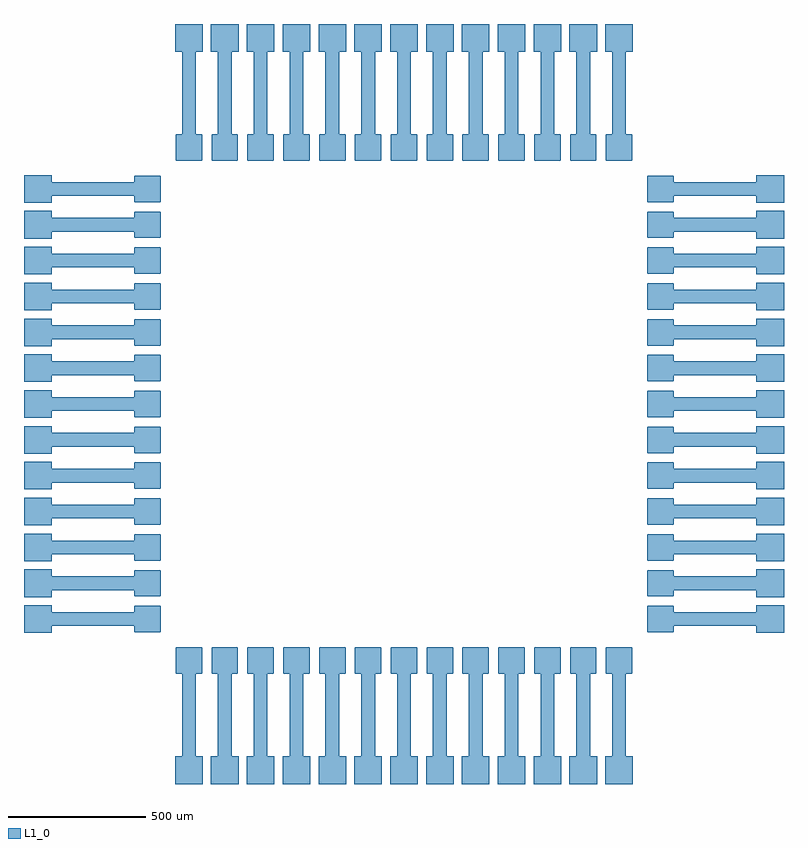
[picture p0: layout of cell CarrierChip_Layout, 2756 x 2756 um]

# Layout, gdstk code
import gdstk
lib = gdstk.Library(unit=1e-6, precision=1e-09)
def R(c, l, rs):  # rectangles x0, y0, x1, y1
    for r in rs: c.add(gdstk.rectangle(r[:2], r[2:], *l))
def A(c, l, x, y, w, h, nx, ny, dx, dy):  # array of equal rectangles
    R(c, l, [(x+i*dx, y+j*dy, x+i*dx+w, y+j*dy+h) for i in range(nx) for j in range(ny)])
def P(c, l, *ps):  # polygons
    for p in ps: c.add(gdstk.Polygon(p, *l))
L1_0 = (1, 0)

carrierchip_layout = lib.new_cell('CarrierChip_Layout')
A(carrierchip_layout, L1_0, 170, -378, 100, 100, 13, 2, 130, 2656)
A(carrierchip_layout, L1_0, 195, -328, 50, 398, 13, 2, 130, 2258)
A(carrierchip_layout, L1_0, -378, 170, 100, 100, 1, 13, 0, 130)
A(carrierchip_layout, L1_0, 2278, 170, 100, 100, 1, 13, 0, 130)
A(carrierchip_layout, L1_0, -328, 195, 398, 50, 1, 13, 0, 130)
A(carrierchip_layout, L1_0, 1930, 195, 398, 50, 1, 13, 0, 130)
P(carrierchip_layout, L1_0, [(118,173.9),(116.1,172),(23.9,172),(22,173.9),(22,266.1),(23.9,268),(116.1,268),(118,266.1)],
  [(118,303.9),(116.1,302),(23.9,302),(22,303.9),(22,396.1),(23.9,398),(116.1,398),(118,396.1)],
  [(118,433.9),(116.1,432),(23.9,432),(22,433.9),(22,526.1),(23.9,528),(116.1,528),(118,526.1)],
  [(118,563.9),(116.1,562),(23.9,562),(22,563.9),(22,656.1),(23.9,658),(116.1,658),(118,656.1)],
  [(118,693.9),(116.1,692),(23.9,692),(22,693.9),(22,786.1),(23.9,788),(116.1,788),(118,786.1)],
  [(118,823.9),(116.1,822),(23.9,822),(22,823.9),(22,916.1),(23.9,918),(116.1,918),(118,916.1)],
  [(118,953.9),(116.1,952),(23.9,952),(22,953.9),(22,1046.1),(23.9,1048),(116.1,1048),(118,1046.1)],
  [(118,1083.9),(116.1,1082),(23.9,1082),(22,1083.9),(22,1176.1),(23.9,1178),(116.1,1178),(118,1176.1)],
  [(118,1213.9),(116.1,1212),(23.9,1212),(22,1213.9),(22,1306.1),(23.9,1308),(116.1,1308),(118,1306.1)],
  [(118,1343.9),(116.1,1342),(23.9,1342),(22,1343.9),(22,1436.1),(23.9,1438),(116.1,1438),(118,1436.1)],
  [(118,1473.9),(116.1,1472),(23.9,1472),(22,1473.9),(22,1566.1),(23.9,1568),(116.1,1568),(118,1566.1)],
  [(118,1603.9),(116.1,1602),(23.9,1602),(22,1603.9),(22,1696.1),(23.9,1698),(116.1,1698),(118,1696.1)],
  [(118,1733.9),(116.1,1732),(23.9,1732),(22,1733.9),(22,1826.1),(23.9,1828),(116.1,1828),(118,1826.1)],
  [(173.9,22),(172,23.9),(172,116.1),(173.9,118),(266.1,118),(268,116.1),(268,23.9),(266.1,22)],
  [(303.9,22),(302,23.9),(302,116.1),(303.9,118),(396.1,118),(398,116.1),(398,23.9),(396.1,22)],
  [(433.9,22),(432,23.9),(432,116.1),(433.9,118),(526.1,118),(528,116.1),(528,23.9),(526.1,22)],
  [(563.9,22),(562,23.9),(562,116.1),(563.9,118),(656.1,118),(658,116.1),(658,23.9),(656.1,22)],
  [(693.9,22),(692,23.9),(692,116.1),(693.9,118),(786.1,118),(788,116.1),(788,23.9),(786.1,22)],
  [(823.9,22),(822,23.9),(822,116.1),(823.9,118),(916.1,118),(918,116.1),(918,23.9),(916.1,22)],
  [(953.9,22),(952,23.9),(952,116.1),(953.9,118),(1046.1,118),(1048,116.1),(1048,23.9),(1046.1,22)],
  [(1083.9,22),(1082,23.9),(1082,116.1),(1083.9,118),(1176.1,118),(1178,116.1),(1178,23.9),(1176.1,22)],
  [(1213.9,22),(1212,23.9),(1212,116.1),(1213.9,118),(1306.1,118),(1308,116.1),(1308,23.9),(1306.1,22)],
  [(1343.9,22),(1342,23.9),(1342,116.1),(1343.9,118),(1436.1,118),(1438,116.1),(1438,23.9),(1436.1,22)],
  [(1473.9,22),(1472,23.9),(1472,116.1),(1473.9,118),(1566.1,118),(1568,116.1),(1568,23.9),(1566.1,22)],
  [(1603.9,22),(1602,23.9),(1602,116.1),(1603.9,118),(1696.1,118),(1698,116.1),(1698,23.9),(1696.1,22)],
  [(1733.9,22),(1732,23.9),(1732,116.1),(1733.9,118),(1826.1,118),(1828,116.1),(1828,23.9),(1826.1,22)],
  [(1882,1826.1),(1883.9,1828),(1976.1,1828),(1978,1826.1),(1978,1733.9),(1976.1,1732),(1883.9,1732),(1882,1733.9)],
  [(1882,1696.1),(1883.9,1698),(1976.1,1698),(1978,1696.1),(1978,1603.9),(1976.1,1602),(1883.9,1602),(1882,1603.9)],
  [(1882,1566.1),(1883.9,1568),(1976.1,1568),(1978,1566.1),(1978,1473.9),(1976.1,1472),(1883.9,1472),(1882,1473.9)],
  [(1882,1436.1),(1883.9,1438),(1976.1,1438),(1978,1436.1),(1978,1343.9),(1976.1,1342),(1883.9,1342),(1882,1343.9)],
  [(1882,1306.1),(1883.9,1308),(1976.1,1308),(1978,1306.1),(1978,1213.9),(1976.1,1212),(1883.9,1212),(1882,1213.9)],
  [(1882,1176.1),(1883.9,1178),(1976.1,1178),(1978,1176.1),(1978,1083.9),(1976.1,1082),(1883.9,1082),(1882,1083.9)],
  [(1882,1046.1),(1883.9,1048),(1976.1,1048),(1978,1046.1),(1978,953.9),(1976.1,952),(1883.9,952),(1882,953.9)],
  [(1882,916.1),(1883.9,918),(1976.1,918),(1978,916.1),(1978,823.9),(1976.1,822),(1883.9,822),(1882,823.9)],
  [(1882,786.1),(1883.9,788),(1976.1,788),(1978,786.1),(1978,693.9),(1976.1,692),(1883.9,692),(1882,693.9)],
  [(1882,656.1),(1883.9,658),(1976.1,658),(1978,656.1),(1978,563.9),(1976.1,562),(1883.9,562),(1882,563.9)],
  [(1882,526.1),(1883.9,528),(1976.1,528),(1978,526.1),(1978,433.9),(1976.1,432),(1883.9,432),(1882,433.9)],
  [(1882,396.1),(1883.9,398),(1976.1,398),(1978,396.1),(1978,303.9),(1976.1,302),(1883.9,302),(1882,303.9)],
  [(1882,266.1),(1883.9,268),(1976.1,268),(1978,266.1),(1978,173.9),(1976.1,172),(1883.9,172),(1882,173.9)],
  [(1826.1,1978),(1828,1976.1),(1828,1883.9),(1826.1,1882),(1733.9,1882),(1732,1883.9),(1732,1976.1),(1733.9,1978)],
  [(1696.1,1978),(1698,1976.1),(1698,1883.9),(1696.1,1882),(1603.9,1882),(1602,1883.9),(1602,1976.1),(1603.9,1978)],
  [(1566.1,1978),(1568,1976.1),(1568,1883.9),(1566.1,1882),(1473.9,1882),(1472,1883.9),(1472,1976.1),(1473.9,1978)],
  [(1436.1,1978),(1438,1976.1),(1438,1883.9),(1436.1,1882),(1343.9,1882),(1342,1883.9),(1342,1976.1),(1343.9,1978)],
  [(1306.1,1978),(1308,1976.1),(1308,1883.9),(1306.1,1882),(1213.9,1882),(1212,1883.9),(1212,1976.1),(1213.9,1978)],
  [(1176.1,1978),(1178,1976.1),(1178,1883.9),(1176.1,1882),(1083.9,1882),(1082,1883.9),(1082,1976.1),(1083.9,1978)],
  [(1046.1,1978),(1048,1976.1),(1048,1883.9),(1046.1,1882),(953.9,1882),(952,1883.9),(952,1976.1),(953.9,1978)],
  [(916.1,1978),(918,1976.1),(918,1883.9),(916.1,1882),(823.9,1882),(822,1883.9),(822,1976.1),(823.9,1978)],
  [(786.1,1978),(788,1976.1),(788,1883.9),(786.1,1882),(693.9,1882),(692,1883.9),(692,1976.1),(693.9,1978)],
  [(656.1,1978),(658,1976.1),(658,1883.9),(656.1,1882),(563.9,1882),(562,1883.9),(562,1976.1),(563.9,1978)],
  [(526.1,1978),(528,1976.1),(528,1883.9),(526.1,1882),(433.9,1882),(432,1883.9),(432,1976.1),(433.9,1978)],
  [(396.1,1978),(398,1976.1),(398,1883.9),(396.1,1882),(303.9,1882),(302,1883.9),(302,1976.1),(303.9,1978)],
  [(266.1,1978),(268,1976.1),(268,1883.9),(266.1,1882),(173.9,1882),(172,1883.9),(172,1976.1),(173.9,1978)])

lib.write_gds('CarrierChip_Layout.gds')
